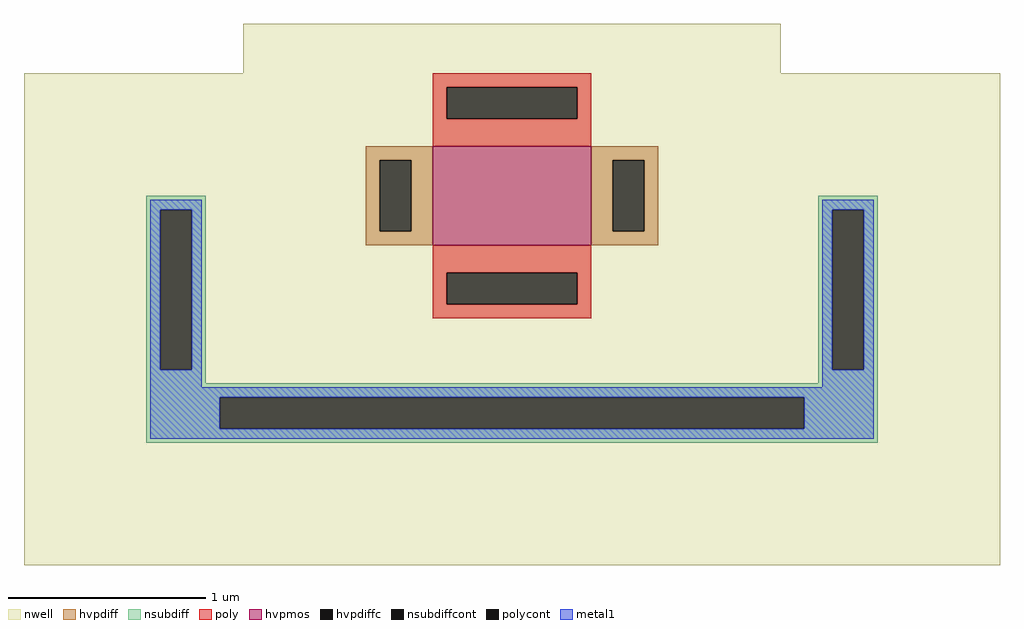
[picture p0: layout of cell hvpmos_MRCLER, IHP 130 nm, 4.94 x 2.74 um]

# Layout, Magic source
magic
tech ihp-sg13g2
<< nwell >>
rect -136 62 136 87
rect -247 -187 247 62
<< hvpmos >>
rect -40 -25 40 25
<< hvpdiff >>
rect -74 18 -40 25
rect -74 -18 -67 18
rect -51 -18 -40 18
rect -74 -25 -40 -18
rect 40 18 74 25
rect 40 -18 51 18
rect 67 -18 74 18
rect 40 -25 74 -18
<< hvpdiffc >>
rect -67 -18 -51 18
rect 51 -18 67 18
<< nsubdiff >>
rect -185 -7 -155 0
rect -185 -88 -178 -7
rect -162 -88 -155 -7
rect 155 -7 185 0
rect -185 -95 -155 -88
rect 155 -88 162 -7
rect 178 -88 185 -7
rect 155 -95 185 -88
rect -185 -102 185 -95
rect -185 -118 -148 -102
rect 148 -118 185 -102
rect -185 -125 185 -118
<< nsubdiffcont >>
rect -178 -88 -162 -7
rect 162 -88 178 -7
rect -148 -118 148 -102
<< poly >>
rect -40 55 40 62
rect -40 39 -33 55
rect 33 39 40 55
rect -40 25 40 39
rect -40 -39 40 -25
rect -40 -55 -33 -39
rect 33 -55 40 -39
rect -40 -62 40 -55
<< polycont >>
rect -33 39 33 55
rect -33 -55 33 -39
<< metal1 >>
rect -183 -7 -157 -2
rect -183 -88 -178 -7
rect -162 -88 -157 -7
rect 157 -7 183 -2
rect -183 -97 -157 -88
rect 157 -88 162 -7
rect 178 -88 183 -7
rect 157 -97 183 -88
rect -183 -102 183 -97
rect -183 -118 -148 -102
rect 148 -118 183 -102
rect -183 -123 183 -118
<< properties >>
string gencell hvpmos
string library sg13g2_devstdin
string parameters w 0.5 l 0.8 nf 1 nx 1 dx 0.21 ny 1 dy 0.18 wmin 0.50 lmin 0.50 class mosfet gcontcov_t 100 gcontcov_b 100 dcontcov_l 100 dcontcov_r 100 guard_distf 1.5 glc 1 grc 1 gtc 0 gbc 1
<< end >>
